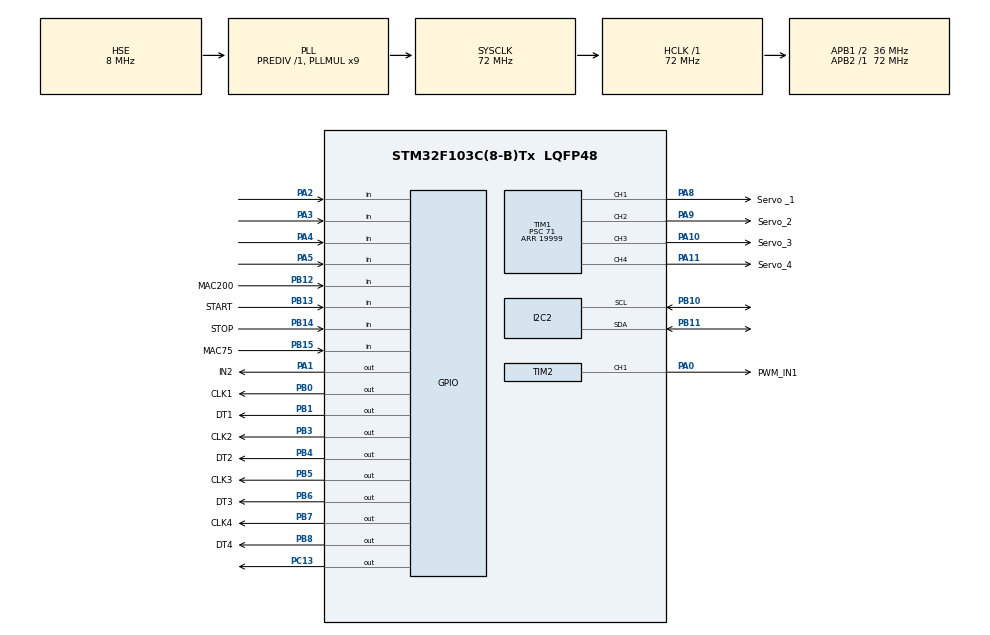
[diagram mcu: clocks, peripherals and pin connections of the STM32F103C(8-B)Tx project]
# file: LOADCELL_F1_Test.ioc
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Mcu.Family=STM32F1
Mcu.Name=STM32F103C(8-B)Tx
Mcu.Package=LQFP48
NVIC.PriorityGroup=NVIC_PRIORITYGROUP_4
PA0-WKUP.GPIO_Label=PWM_IN1
PA0-WKUP.Signal=S_TIM2_CH1_ETR
PA1.GPIO_Label=IN2
PA1.Signal=GPIO_Output
PA10.GPIO_Label=Servo_3
PA10.Signal=S_TIM1_CH3
PA11.GPIO_Label=Servo_4
PA11.Signal=S_TIM1_CH4
PA13.Mode=Serial_Wire
PA13.Signal=SYS_JTMS-SWDIO
PA14.Mode=Serial_Wire
PA14.Signal=SYS_JTCK-SWCLK
PA2.GPIO_Mode=GPIO_MODE_INPUT
PA2.GPIO_PuPd=GPIO_PULLUP
PA2.Signal=GPIO_Input
PA3.GPIO_Mode=GPIO_MODE_INPUT
PA3.GPIO_PuPd=GPIO_PULLUP
PA3.Signal=GPIO_Input
PA4.GPIO_Mode=GPIO_MODE_INPUT
PA4.GPIO_PuPd=GPIO_PULLUP
PA4.Signal=GPIO_Input
PA5.GPIO_Mode=GPIO_MODE_INPUT
PA5.GPIO_PuPd=GPIO_PULLUP
PA5.Signal=GPIO_Input
PA8.GPIO_Label=Servo _1
PA8.Signal=S_TIM1_CH1
PA9.GPIO_Label=Servo_2
PA9.Signal=S_TIM1_CH2
PB0.GPIO_Label=CLK1
PB0.Signal=GPIO_Output
PB1.GPIO_Label=DT1
PB1.Signal=GPIO_Output
PB10.Mode=I2C
PB10.Signal=I2C2_SCL
PB11.Mode=I2C
PB11.Signal=I2C2_SDA
PB12.GPIO_Label=MAC200
PB12.GPIO_Mode=GPIO_MODE_INPUT
PB12.GPIO_PuPd=GPIO_PULLUP
PB12.Signal=GPIO_Input
PB13.GPIO_Label=START
PB13.GPIO_Mode=GPIO_MODE_INPUT
PB13.GPIO_PuPd=GPIO_PULLUP
PB13.Signal=GPIO_Input
PB14.GPIO_Label=STOP
PB14.GPIO_Mode=GPIO_MODE_INPUT
PB14.GPIO_PuPd=GPIO_PULLUP
PB14.Signal=GPIO_Input
PB15.GPIO_Label=MAC75
PB15.GPIO_PuPd=GPIO_PULLUP
PB15.Signal=GPIO_Input
PB3.GPIO_Label=CLK2
PB3.Signal=GPIO_Output
PB4.GPIO_Label=DT2
PB4.Signal=GPIO_Output
PB5.GPIO_Label=CLK3
PB5.Signal=GPIO_Output
PB6.GPIO_Label=DT3
PB6.Signal=GPIO_Output
PB7.GPIO_Label=CLK4
PB7.Signal=GPIO_Output
PB8.GPIO_Label=DT4
PB8.Signal=GPIO_Output
PC13-TAMPER-RTC.Signal=GPIO_Output
PD0-OSC_IN.Mode=HSE-External-Oscillator
PD0-OSC_IN.Signal=RCC_OSC_IN
PD1-OSC_OUT.Mode=HSE-External-Oscillator
PD1-OSC_OUT.Signal=RCC_OSC_OUT
ProjectManager.HeapSize=0x200
ProjectManager.StackSize=0x400
ProjectManager.TargetToolchain=MDK-ARM V5
RCC.AHBFreq_Value=72000000
RCC.APB1CLKDivider=RCC_HCLK_DIV2
RCC.APB1Freq_Value=36000000
RCC.APB1TimFreq_Value=72000000
RCC.APB2Freq_Value=72000000
RCC.APB2TimFreq_Value=72000000
RCC.HCLKFreq_Value=72000000
RCC.PLLMUL=RCC_PLL_MUL9
RCC.PLLSourceVirtual=RCC_PLLSOURCE_HSE
RCC.SYSCLKFreq_VALUE=72000000
RCC.SYSCLKSource=RCC_SYSCLKSOURCE_PLLCLK
RCC.USBFreq_Value=72000000
SH.S_TIM1_CH1.0=TIM1_CH1,PWM Generation1 CH1
SH.S_TIM1_CH2.0=TIM1_CH2,PWM Generation2 CH2
SH.S_TIM1_CH3.0=TIM1_CH3,PWM Generation3 CH3
SH.S_TIM1_CH4.0=TIM1_CH4,PWM Generation4 CH4
SH.S_TIM2_CH1_ETR.0=TIM2_CH1,PWM Generation1 CH1
TIM1.Channel-PWM\ Generation1\ CH1=TIM_CHANNEL_1
TIM1.Channel-PWM\ Generation2\ CH2=TIM_CHANNEL_2
TIM1.Channel-PWM\ Generation3\ CH3=TIM_CHANNEL_3
TIM1.Channel-PWM\ Generation4\ CH4=TIM_CHANNEL_4
TIM1.Period=19999
TIM1.Prescaler=71
TIM2.Channel-PWM\ Generation1\ CH1=TIM_CHANNEL_1
TIM2.Period=999
TIM2.Prescaler=71
TIM4.Period=65535
TIM4.Prescaler=71
VP_TIM1_VS_ClockSourceINT.Mode=Internal
VP_TIM2_VS_ClockSourceINT.Mode=Internal
VP_TIM4_VS_ClockSourceINT.Mode=Internal
board=custom

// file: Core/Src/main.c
/* USER CODE BEGIN Header */
/**
  ******************************************************************************
  * @file           : main.c
  * @brief          : Main program body
  ******************************************************************************
  * @attention
  *
  * Copyright (c) 2023 STMicroelectronics.
  * All rights reserved.
  *
  * This software is licensed under terms that can be found in the LICENSE file
  * in the root directory of this software component.
  * If no LICENSE file comes with this software, it is provided AS-IS.
  *
  ******************************************************************************
  */
/* USER CODE END Header */
#include "main.h"
#include "i2c.h"
#include "tim.h"
#include "gpio.h"

/* USER CODE BEGIN Includes */
#include "hx711.h"
#include "Servo.h"
#include "Button.h"
#include "LiquidCrystal_I2C.h"
/* USER CODE END Includes */

/* USER CODE BEGIN PTD */

typedef enum
{
	init_state,
	cat_state,
	xiMang_state,
	nuoc_state,
	da_state,
	finish_state
} system_state_t;

typedef enum
{
	init_st,
	start_st,
	stop_st,
	mac75_st,
	mac200_st
} options_state_t;

/* USER CODE END PTD */

/* USER CODE BEGIN PD */

// Define MAC 75
#define XIMANG75_SETVAL 		(100U)
#define XIMANG75_SETTIMES  	(5U)
#define NUOC75_SETVAL  			(120U)
#define NUOC75_SETTIMES  		(3U)
#define CAT75_SETVAL  			(201U)
#define CAT75_SETTIMES  		(3U)

// Define MAC 200
#define XIMANG200_SETVAL 		(100U)
#define XIMANG200_SETTIMES 	(5U)
#define NUOC200_SETVAL 			(144U)
#define NUOC200_SETTIMES 		(2U)
#define CAT200_SETVAL 			(252U)
#define CAT200_SETTIMES 		(5U)
#define DA200_SETVAL 				(515U)
#define DA200_SETTIMES			(4U)

/* USER CODE END PD */

/* USER CODE BEGIN PV */

static system_state_t sys_state;
static options_state_t op_state;

// Khai bao bien LCD 16x2 + I2C
static LiquidCrystal_I2C lcd;

// Khai bien doi tuong(objects) cho he thong
hx711_t loadcell1, loadcell2, loadcell3, loadcell4;
static servo_typedef_t servo1, servo2, servo3, servo4;
static Button_Typdef cb1, cb2, cb3,cb4, btn_start, btn_stop, btn_mac75, btn_mac200;

// Khoi tao bien de dem so lan can
static uint8_t ui8_cat75Count = 0;
static uint8_t ui8_xiMang75Count = 0;
static uint8_t ui8_nuoc75Count = 0;

static uint8_t ui8_cat200Count = 0;
static uint8_t ui8_xiMang200Count = 0;
static uint8_t ui8_nuoc200Count = 0;
static uint8_t ui8_da200Count = 0;

extern volatile uint8_t ui8_start_var;

/* USER CODE END PV */

void SystemClock_Config(void);
/* USER CODE BEGIN PFP */

// Khai bao nguyen mau ham dieu khien bang tai
static void conveyor_start(void);
static void conveyor_stop(void);

/* USER CODE END PFP */

/* USER CODE BEGIN 0 */

void	btn_pressing_callback(Button_Typdef *ButtonX)
{
	switch (ButtonX->GPIO_Pin)
	{
		case GPIO_PIN_2: // CB 1 - Cat
		{
			// MAC 75
			if (sys_state == cat_state && op_state == mac75_st)
			{
				if (ui8_cat75Count == CAT75_SETTIMES)
				{
					ui8_cat75Count = 0;
					lcd_set_cursor(&lcd, 1,11);
					lcd_printf(&lcd, "%d", ui8_cat75Count);
					sys_state = xiMang_state;
					break;
				}
				conveyor_stop();
				servo_open(&servo1);
				ui8_cat75Count++;
				lcd_set_cursor(&lcd, 0, 9);
				lcd_printf(&lcd, "CAT      ");
				lcd_set_cursor(&lcd, 1,11);
				lcd_printf(&lcd, "%d", ui8_cat75Count);
			}
			// MAC 200
			if (sys_state == cat_state && op_state == mac200_st)
			{
				if (ui8_cat200Count == CAT200_SETTIMES)
				{
					ui8_cat200Count = 0;
					lcd_set_cursor(&lcd, 1,11);
					lcd_printf(&lcd, "%d", ui8_cat200Count);
					sys_state = xiMang_state;
					break;
				}
				conveyor_stop();
				servo_open(&servo1);
				ui8_cat200Count++;
				lcd_set_cursor(&lcd, 0, 9);
				lcd_printf(&lcd, "CAT      ");
				lcd_set_cursor(&lcd, 1,11);
				lcd_printf(&lcd, "%d", ui8_cat200Count);
			}
			break;
		}
		case GPIO_PIN_3: // CB 2 - Xi mang
		{
			// MAC 75
			if (sys_state == xiMang_state && op_state == mac75_st)
			{
				if (ui8_xiMang75Count == XIMANG75_SETTIMES)
				{
					ui8_xiMang75Count = 0;
					lcd_set_cursor(&lcd, 1,11);
					lcd_printf(&lcd, "%d", ui8_xiMang75Count);
					sys_state = nuoc_state;
					break;
				}
				conveyor_stop();
				servo_open(&servo2);
				ui8_xiMang75Count++;
				lcd_set_cursor(&lcd, 0, 9);
				lcd_printf(&lcd, "X.MANG");
				lcd_set_cursor(&lcd, 1,11);
				lcd_printf(&lcd, "%d", ui8_xiMang75Count);
			}
			// MAC 200
			if (sys_state == xiMang_state && op_state == mac200_st)
			{
				if (ui8_xiMang200Count == XIMANG200_SETTIMES)
				{
					ui8_xiMang200Count = 0;
					lcd_set_cursor(&lcd, 1,11);
					lcd_printf(&lcd, "%d", ui8_xiMang200Count);
					sys_state = da_state;
					break;
				}
				conveyor_stop();
				servo_open(&servo2);
				ui8_xiMang200Count++;
				lcd_set_cursor(&lcd, 0, 9);
				lcd_printf(&lcd, "X.MANG");
				lcd_set_cursor(&lcd, 1,11);
				lcd_printf(&lcd, "%d", ui8_xiMang200Count);
			}
			break;
		}
		case GPIO_PIN_4: // CB 3 - Da
		{
			// MAC 75
			if (sys_state == da_state && op_state == mac75_st)
			{
				sys_state = nuoc_state;
			}
			// MAC 200
			if (sys_state == da_state && op_state == mac200_st)
			{
				if (ui8_da200Count == DA200_SETTIMES)
				{
					ui8_da200Count = 0;
					lcd_set_cursor(&lcd, 1,11);
					lcd_printf(&lcd, "%d", ui8_da200Count);
					sys_state = nuoc_state;
					break;
				}
				conveyor_stop();
				servo_open(&servo3);
				ui8_da200Count++;
				lcd_set_cursor(&lcd, 0, 9);
				lcd_printf(&lcd, "DA      ");
				lcd_set_cursor(&lcd, 1,11);
				lcd_printf(&lcd, "%d", ui8_da200Count);
			}

			break;
		}
		case GPIO_PIN_5: // CB 4 - Nuoc
		{
			// MAC 75
			if (sys_state == nuoc_state && op_state == mac75_st)
			{
				conveyor_stop();
				servo_open(&servo4);
				ui8_nuoc75Count++;
				lcd_set_cursor(&lcd, 0, 9);
				lcd_printf(&lcd, "NUOC     ");
				lcd_set_cursor(&lcd, 1,11);
				lcd_printf(&lcd, "%d", ui8_nuoc75Count);
				if (ui8_nuoc75Count == NUOC75_SETTIMES)
				{

					break;
				}
			}
			// MAC 200
			if (sys_state == nuoc_state && op_state == mac200_st)
			{
				conveyor_stop();
				servo_open(&servo4);
				ui8_nuoc200Count++;
				lcd_set_cursor(&lcd, 0, 9);
				lcd_printf(&lcd, "NUOC     ");
				lcd_set_cursor(&lcd, 1,11);
				lcd_printf(&lcd, "%d", ui8_nuoc200Count);
				if (ui8_nuoc200Count == NUOC200_SETTIMES)
				{

					break;
				}
			}
			break;
		}
		case GPIO_PIN_13:
		{
			// START
			HAL_Delay(20);
			lcd_clear_display(&lcd);
			lcd_set_cursor(&lcd, 0, 3);
			lcd_printf(&lcd, "Starting....");
			op_state = start_st;
			break;
		}
		case GPIO_PIN_14:
		{
			// STOP
			if (op_state != start_st)
			{
				op_state = stop_st;
				lcd_clear_display(&lcd);
				HAL_Delay(20);
				lcd_set_cursor(&lcd, 0, 1);
				lcd_printf(&lcd, "<STOPED SYSTEM>");
				lcd_set_cursor(&lcd, 1, 0);
				lcd_printf(&lcd, "->Start to Reset");
			}
			break;
		}
		case GPIO_PIN_15:
		{
			// MAC75
			if (op_state != stop_st)
			{
				op_state = mac75_st;
				sys_state = cat_state;
				lcd_clear_display(&lcd);
				HAL_Delay(20);
				lcd_set_cursor(&lcd, 0, 0);
				lcd_printf(&lcd, "MAC 75 |");
				lcd_set_cursor(&lcd, 1, 0);
				lcd_printf(&lcd, "W: ");
				lcd_set_cursor(&lcd, 1, 9);
				lcd_printf(&lcd, "T: ");
			}
			break;
		}
		case GPIO_PIN_12:
		{
			// MAC200
			if (op_state != stop_st)
			{
				op_state = mac200_st;
				sys_state = cat_state;
				lcd_clear_display(&lcd);
				HAL_Delay(20);
				lcd_set_cursor(&lcd, 0, 0);
				lcd_printf(&lcd, "MAC 200 |");
				lcd_set_cursor(&lcd, 1, 0);
				lcd_printf(&lcd, "W: ");
				lcd_set_cursor(&lcd, 1, 9);
				lcd_printf(&lcd, "T: ");
			}
			break;
		}
	}
}

void btn_press_timeout_callback(Button_Typdef *ButtonX)
{
	if (ButtonX->GPIO_Pin == GPIO_PIN_13)
	{
		NVIC_SystemReset();
	}
}

// -------- Ham callback xu li va dieu khien RC Servo state --------
void hx711_callback(hx711_t *hx711)
{
	//   Begin mode MAC75
	if (op_state == mac75_st && sys_state != finish_state && sys_state != init_state) // MAC 75
	{
		if (hx711->weight >= (CAT75_SETVAL + 2) && hx711 == &loadcell1) // Cat
		{
			lcd_set_cursor(&lcd, 1,3);
			if (hx711->weight > 0)
				lcd_printf(&lcd, "%.0f", hx711->weight - 4);
			servo_close(&servo1);
			conveyor_start();
		}
		else if (hx711->weight == 0 && hx711 == &loadcell1 && ui8_cat75Count != 0)
		{
			lcd_set_cursor(&lcd, 1,3);
			lcd_printf(&lcd, "   ");
		}
		if (hx711->weight >= (XIMANG75_SETVAL + 2)&& hx711 == &loadcell2)	// Xi mang
		{
			lcd_set_cursor(&lcd, 1,3);
			if (hx711->weight > 0)
				lcd_printf(&lcd, "%.0f", hx711->weight - 4);
			servo_close(&servo2);
			conveyor_start();
		}
		else if (hx711->weight == 0 && hx711 == &loadcell2 && ui8_xiMang75Count != 0)
		{
			lcd_set_cursor(&lcd, 1,3);
			lcd_printf(&lcd, "   ");
		}
		if (hx711->weight >= 0 && hx711 == &loadcell3)	// Рa
		{

		}
		if (hx711->weight >= (NUOC75_SETVAL + 2) && hx711 == &loadcell4)	// Nuoc
		{
			lcd_set_cursor(&lcd, 1,3);
			if (hx711->weight > 0)
				lcd_printf(&lcd, "%.0f", hx711->weight - 4);
			servo_close(&servo4);
			if (ui8_nuoc75Count == NUOC75_SETTIMES)
			{
				sys_state = finish_state;
				lcd_set_cursor(&lcd, 1, 0);
				lcd_printf(&lcd, "               ");
				lcd_set_cursor(&lcd, 1, 4);
				lcd_printf(&lcd, "FINISHED");
				ui8_nuoc75Count = 0;
			}
			conveyor_start();
		}
		else if (hx711->weight == 0 && hx711 == &loadcell4 && ui8_nuoc75Count != 0)
		{
			lcd_set_cursor(&lcd, 1,3);
			lcd_printf(&lcd, "   ");
		}
	}
	//   End mode MAC75

	//    Mode MAC 200
	else if (op_state == mac200_st && sys_state != finish_state && sys_state != init_state) // MAC 200
	{
		if (hx711->weight >= (CAT200_SETVAL + 2) && hx711 == &loadcell1) // Cat
		{
			lcd_set_cursor(&lcd, 1,3);
			if (hx711->weight > 0)
				lcd_printf(&lcd, "%.0f", hx711->weight - 4);
			servo_close(&servo1);
			conveyor_start();
		}
		else if (hx711->weight == 0 && hx711 == &loadcell1 && ui8_cat200Count != 0)
		{
			lcd_set_cursor(&lcd, 1,3);
			lcd_printf(&lcd, "   ");
		}
		if (hx711->weight >= (XIMANG200_SETVAL + 2)&& hx711 == &loadcell2)	// Xi mang
		{
			lcd_set_cursor(&lcd, 1,3);
			if (hx711->weight > 0)
				lcd_printf(&lcd, "%.0f", hx711->weight - 4);
			servo_close(&servo2);
			conveyor_start();
		}
		else if (hx711->weight == 0 && hx711 == &loadcell2 && ui8_xiMang200Count != 0)
		{
			lcd_set_cursor(&lcd, 1,3);
			lcd_printf(&lcd, "   ");
		}
		if (hx711->weight >= (DA200_SETVAL + 2) && hx711 == &loadcell3)	// Рa
		{
			lcd_set_cursor(&lcd, 1,3);
			if (hx711->weight > 0)
				lcd_printf(&lcd, "%.0f", hx711->weight - 4);
			servo_close(&servo3);
			conveyor_start();
		}
		else if (hx711->weight == 0 && hx711 == &loadcell3 && ui8_da200Count != 0)
		{
			lcd_set_cursor(&lcd, 1,3);
			lcd_printf(&lcd, "   ");
		}
		if (hx711->weight >= (NUOC200_SETVAL + 2) && hx711 == &loadcell4)	// Nuoc
		{
			lcd_set_cursor(&lcd, 1,3);
			if (hx711->weight > 0)
				lcd_printf(&lcd, "%.0f", hx711->weight - 4);
			servo_close(&servo4);
			if (ui8_nuoc200Count == NUOC200_SETTIMES)
			{
				sys_state = finish_state;
				lcd_set_cursor(&lcd, 1, 0);
				lcd_printf(&lcd, "               ");
				lcd_set_cursor(&lcd, 1, 4);
				lcd_printf(&lcd, "FINISHED");
				ui8_nuoc200Count = 0;
			}
			conveyor_start();
		}
		else if (hx711->weight == 0 && hx711 == &loadcell4 && ui8_nuoc200Count != 0)
		{
			lcd_set_cursor(&lcd, 1,3);
			lcd_printf(&lcd, "   ");
		}
	}
		//   End mode MAC 200
}

/* USER CODE END 0 */

int main(void)
{

  /* MCU Configuration--------------------------------------------------------*/

  /* Reset of all peripherals, Initializes the Flash interface and the Systick. */
  HAL_Init();

  /* Configure the system clock */
  SystemClock_Config();

  /* Initialize all configured peripherals */
  MX_GPIO_Init();
  MX_TIM4_Init();
  MX_TIM1_Init();
  MX_TIM2_Init();
  MX_I2C2_Init();
  /* USER CODE BEGIN 2 */

	/* Khoi tao LCD 16x2 */
	lcd_init(&lcd, &hi2c2, LCD_ADDR_DEFAULT);
	HAL_Delay(100);
	lcd_set_cursor(&lcd, 0, 2);
	lcd_printf(&lcd, "Press START");
	lcd_set_cursor(&lcd, 1,3);
	lcd_printf(&lcd, "........");
	while(ui8_start_var == 0)
	{
		__NOP;
	}
	op_state = start_st;
	lcd_clear_display(&lcd);
	lcd_set_cursor(&lcd, 0, 1);
	HAL_Delay(10);
	lcd_printf(&lcd, "Cabliration...");
	lcd_set_cursor(&lcd, 1, 1);
	lcd_printf(&lcd, "Initialize....");
	/* Khoi tao trang thai ban dau cua he thong can DL */
	sys_state = init_state;

	/* Khoi tao RC Servo */
	HAL_GPIO_WritePin(GPIOC, GPIO_PIN_13, GPIO_PIN_RESET); // Bat dau TB khoi chay he thong
	servo_init(&servo1, &htim1, TIM_CHANNEL_1);
	servo_init(&servo2, &htim1, TIM_CHANNEL_2);
	servo_init(&servo3, &htim1, TIM_CHANNEL_3);
	servo_init(&servo4, &htim1, TIM_CHANNEL_4);

	// Khoi tao PWM cho dong co bang chuyen
	HAL_TIM_PWM_Start(&htim2, TIM_CHANNEL_1);

	/* Khoi tao nut nhan */
	button_init(&cb1, GPIOA, GPIO_PIN_2);
	button_init(&cb2, GPIOA, GPIO_PIN_3);
	button_init(&cb3, GPIOA, GPIO_PIN_4);
	button_init(&cb4, GPIOA, GPIO_PIN_5);
	button_init(&btn_start, GPIOB, GPIO_PIN_13);
	button_init(&btn_stop, GPIOB, GPIO_PIN_14);
	button_init(&btn_mac75, GPIOB, GPIO_PIN_15);
	button_init(&btn_mac200, GPIOB, GPIO_PIN_12);
	/* Khoi tao trang thai ban dau RC Servo */
	HAL_Delay(500);
	servo_close(&servo1);
	HAL_Delay(500);
	servo_close(&servo2);
	HAL_Delay(500);
	servo_close(&servo3);
	HAL_Delay(500);
	servo_close(&servo4);
	HAL_Delay(200);

	/* Cac ham khoi tao Loadcell va cabliration */
	hx711_init(&loadcell1, CLK1_GPIO_Port, CLK1_Pin, DT1_GPIO_Port, DT1_Pin, &htim4);
	hx711_init(&loadcell2, CLK2_GPIO_Port, CLK2_Pin, DT2_GPIO_Port, DT2_Pin, &htim4);
	hx711_init(&loadcell3, CLK3_GPIO_Port, CLK3_Pin, DT3_GPIO_Port, DT3_Pin, &htim4);
	hx711_init(&loadcell4, CLK4_GPIO_Port, CLK4_Pin, DT4_GPIO_Port, DT4_Pin, &htim4);
	HAL_Delay(200); // Waiting complete cablration
	hx711_coef_set(&loadcell1, 1990); 	// 1kg
	hx711_coef_set(&loadcell2, 2260);		// 1kg
	hx711_coef_set(&loadcell3, 442.5);	// 5kg
	hx711_coef_set(&loadcell4, 1965);		// 1kg
	HAL_Delay(200); // Waiting completely cablration
  hx711_tare(&loadcell1, 10);
	hx711_tare(&loadcell2, 10);
	hx711_tare(&loadcell3, 10);
	hx711_tare(&loadcell4, 10);

	HAL_GPIO_WritePin(GPIOC, GPIO_PIN_13, GPIO_PIN_SET);	// Ket thuc TB he thong da chay on dinh

	/* Khoi tao trang thai cat cua he thong can DL */
	sys_state = cat_state;
	op_state = init_st;
	conveyor_start();
	HAL_Delay(10);
	lcd_clear_display(&lcd);
	lcd_set_cursor(&lcd, 0, 0);
	lcd_printf(&lcd, "Complete Cablib");
	HAL_Delay(1000);
	lcd_clear_display(&lcd);
	lcd_set_cursor(&lcd, 0, 3);
	lcd_printf(&lcd, "Starting....");

  /* USER CODE END 2 */

  /* Infinite loop */
  while (1)
  {

    /* USER CODE BEGIN 3 */

		// Cac ham polling de kiem tra cac cam bien quang
		button_handle(&cb1);
		button_handle(&cb2);
		button_handle(&cb3);
		button_handle(&cb4);
		// Cac ham polling de kiem tra nut nhan chon che do
		button_handle(&btn_start);
		button_handle(&btn_stop);
		button_handle(&btn_mac75);
		button_handle(&btn_mac200);
		// Cac ham polling de do can nang
		hx711_handle(&loadcell1);
		hx711_handle(&loadcell2);
		hx711_handle(&loadcell3);
		hx711_handle(&loadcell4);
  }
  /* USER CODE END 3 */
}

void SystemClock_Config(void)
{
  RCC_OscInitTypeDef RCC_OscInitStruct = {0};
  RCC_ClkInitTypeDef RCC_ClkInitStruct = {0};

  /** Initializes the RCC Oscillators according to the specified parameters
  * in the RCC_OscInitTypeDef structure.
  */
  RCC_OscInitStruct.OscillatorType = RCC_OSCILLATORTYPE_HSE;
  RCC_OscInitStruct.HSEState = RCC_HSE_ON;
  RCC_OscInitStruct.HSEPredivValue = RCC_HSE_PREDIV_DIV1;
  RCC_OscInitStruct.HSIState = RCC_HSI_ON;
  RCC_OscInitStruct.PLL.PLLState = RCC_PLL_ON;
  RCC_OscInitStruct.PLL.PLLSource = RCC_PLLSOURCE_HSE;
  RCC_OscInitStruct.PLL.PLLMUL = RCC_PLL_MUL9;
  if (HAL_RCC_OscConfig(&RCC_OscInitStruct) != HAL_OK)
  {
    Error_Handler();
  }

  /** Initializes the CPU, AHB and APB buses clocks
  */
  RCC_ClkInitStruct.ClockType = RCC_CLOCKTYPE_HCLK|RCC_CLOCKTYPE_SYSCLK
                              |RCC_CLOCKTYPE_PCLK1|RCC_CLOCKTYPE_PCLK2;
  RCC_ClkInitStruct.SYSCLKSource = RCC_SYSCLKSOURCE_PLLCLK;
  RCC_ClkInitStruct.AHBCLKDivider = RCC_SYSCLK_DIV1;
  RCC_ClkInitStruct.APB1CLKDivider = RCC_HCLK_DIV2;
  RCC_ClkInitStruct.APB2CLKDivider = RCC_HCLK_DIV1;

  if (HAL_RCC_ClockConfig(&RCC_ClkInitStruct, FLASH_LATENCY_2) != HAL_OK)
  {
    Error_Handler();
  }
}

/* USER CODE BEGIN 4 */
void conveyor_start(void)
{
	HAL_GPIO_WritePin(GPIOA, GPIO_PIN_1, GPIO_PIN_SET);
	TIM2->CCR1 = 700; // Duty cycle(%) = 70%
}

void conveyor_stop(void)
{
	HAL_GPIO_WritePin(GPIOA, GPIO_PIN_1, GPIO_PIN_RESET);
	TIM2->CCR1 = 1;
}
/* USER CODE END 4 */

void Error_Handler(void)
{
  __disable_irq();
  while (1)
  {
  }
}
